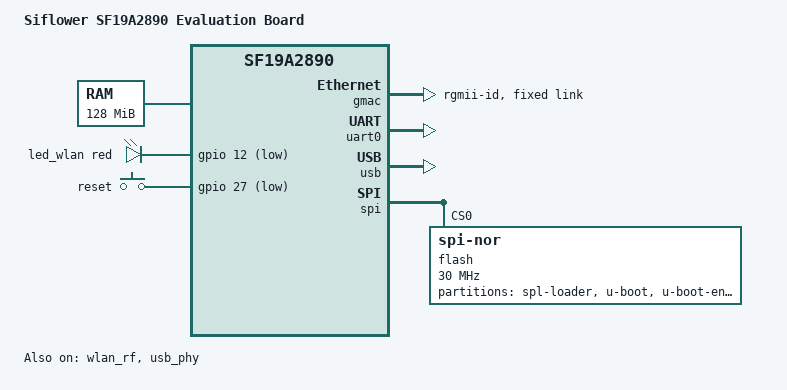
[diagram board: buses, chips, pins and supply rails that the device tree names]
/dts-v1/;
#include <dt-bindings/input/input.h>
#include <dt-bindings/leds/common.h>
#include "sf19a2890.dtsi"

/ {
	model = "Siflower SF19A2890 Evaluation Board";
	compatible = "siflower,sf19a2890-evb", "siflower,sf19a2890";

	aliases {
		led-boot = &led_wlan;
		led-failsafe = &led_wlan;
		led-running = &led_wlan;
		led-upgrade = &led_wlan;
	};

	chosen {
		stdout-path = "serial0:115200n8";
	};

	memory@0 {
		device_type = "memory";
		reg = <0x0 0x8000000>;
	};

	leds {
		compatible = "gpio-leds";

		led_wlan: wlan {
			function = LED_FUNCTION_WLAN;
			color = <LED_COLOR_ID_RED>;
			gpios = <&gpio 12 GPIO_ACTIVE_LOW>;
		};
	};

	keys {
		compatible = "gpio-keys";

		reset {
			label = "reset";
			gpios = <&gpio 27 GPIO_ACTIVE_LOW>;
			linux,code = <KEY_RESTART>;
		};
	};

	rtl8367rb {
		compatible = "realtek,rtl8367b";
		realtek,extif = <6 0 0 1 1 1 1 1 1 2>;
		mii-bus = <&mdio>;
		phy-id = <0>;
	};
};

&gmac {
	status = "okay";
	phy-mode = "rgmii-id";
	snps,ps-speed = <1000>;
	nvmem-cells = <&macaddr_factory_0>, <&rgmii_delay_factory_b2>;
	nvmem-cell-names = "mac-address", "rgmii-delay";
	fixed-link {
		speed = <1000>;
		full-duplex;
		pause;
	};
};

&wlan_rf {
	status = "okay";
};

&uart0 {
	status = "okay";
};

&usb {
	status = "okay";
};

&usb_phy {
	status = "okay";
};

&spi {
	status = "okay";
	flash@0 {
		compatible = "jedec,spi-nor";
		reg = <0>;
		spi-max-frequency = <30000000>;

		#address-cells = <1>;
		#size-cells = <1>;

		partitions {
			compatible = "fixed-partitions";
			#address-cells = <1>;
			#size-cells = <1>;

			partition@0 {
				label = "spl-loader";
				reg = <0x0 0x20000>; /* 128k */
				read-only;
			};

			partition@20000 {
				label = "u-boot";
				reg = <0x20000 0x60000>; /* 384k */
			};

			partition@80000 {
				label = "u-boot-env";
				reg = <0x80000 0x10000>; /* 64k */
			};

			factory: partition@90000 {
				label = "factory";
				reg = <0x90000 0x10000>; /* 64k */

				nvmem-layout {
					compatible = "fixed-layout";
					#address-cells = <1>;
					#size-cells = <1>;

					macaddr_factory_0: macaddr@0 {
						reg = <0x0 0x6>;
					};

					rgmii_delay_factory_b2: rgmii-delay@b2 {
						reg = <0xb2 0x4>;
					};
				};
			};

			partition@a0000 {
				compatible = "denx,uimage";
				label = "firmware";
				reg = <0xa0000 0x0>; /* 640k- */
			};
		};
	};
};
